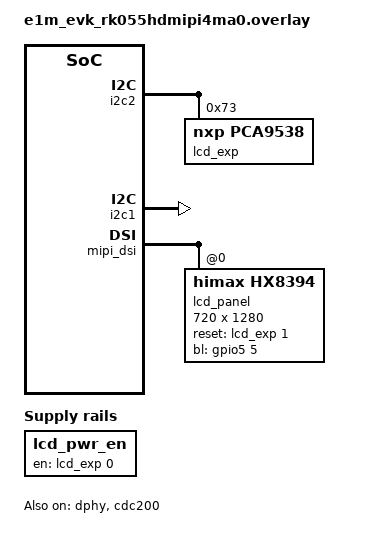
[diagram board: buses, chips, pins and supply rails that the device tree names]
/*
 * Copyright (c) 2026 Alp Lab AB
 * SPDX-License-Identifier: Apache-2.0
 *
 * e1m_evk_rk055hdmipi4ma0 -- the RK055HDMIPI4MA0 MIPI-DSI panel (720x1280,
 * Himax HX8394 controller, 2 data lanes, RGB888) on the E1M-EVK's display
 * connector (J6), driven by an E1M-AEN SoM (Alif Ensemble E8) through the SoC
 * display chain:
 *
 *   cdc200   (tes,cdc-2.1)          -- DPI pixel pump, framebuffer in SRAM0
 *       |  DPI
 *   mipi_dsi (snps,designware-dsi)  -- MIPI-DSI host
 *       |  phy-if <&dphy 1>
 *   dphy     (snps,designware-dphy) -- the shared D-PHY, TX role
 *       |  2 data lanes
 *   panel@0  (himax,hx8394)
 *
 * The SoC nodes (reg, IRQs, clocks, cdc-if / phy-if) are defined disabled in
 * zephyr/dts/alif/ensemble_e8_peripherals.dtsi.  This shield turns them on and
 * adds what the carrier and the panel decide.  Build any app with
 * `-DSHIELD=e1m_evk_rk055hdmipi4ma0`; the shield's Kconfig.defconfig enables
 * the drivers and defaults CONFIG_ALP_SDK=y itself -- the CDC200 / DesignWare
 * DSI / D-PHY driver symbols are alp-sdk's and live under `if ALP_SDK`, and
 * without it those symbols do not exist and the chain fails at link time, not
 * configure time.  An app can still set CONFIG_ALP_SDK=n to turn the SDK
 * back off.  The SoC-level clock / power / pad setup the chain needs lives in
 * zephyr/soc-bridge/alif/mipi_display_e8.c.
 *
 * Panel timings are the upstream NXP rk055hdmipi4ma0 shield's.  The pixel clock
 * is not: it is the fastest the link can carry.
 *
 * The layer format (pixel-fmt-l1 below) sets ONLY the framebuffer in memory --
 * the DSI link runs at the PANEL's pixel-format (RGB888, panel@0 below)
 * either way, so switching pixel-fmt-l1 to "rgb-565" leaves the lane rate
 * unchanged at pixel-clock * 24 / 2 plus packet overhead.  At 400 MHz / 10 =
 * 40 MHz that is 483.6 Mbps/lane, inside the Alif DSI controller's 500 Mbps
 * two-lane ceiling.  40 MHz is the fastest 400 MHz / N clock that fits.
 * Measured refresh is 40.0 Hz (762 * 1312 total pixels, including blanking,
 * at 40 MHz).  What RGB565 buys: half the framebuffer (720*1280*2 =
 * 1,843,200 B instead of 2,764,800 B) and half the CPU cost to fill it --
 * nothing on the wire changes.  Colour bars (R/G/B/W, no channel swap)
 * verified correct on glass at 40 MHz on E1M-AEN803 2026W36-0009: RGB888 at
 * its earlier framebuffer placement, 2026-09-21; RGB565 at the shipped
 * placement (`lcd_fb` at 0x02200000) on 2026-09-22, where the CDC L1
 * framebuffer register (0x49031134) read back 0x02200000 on every one of 15
 * boots, display_write() reported 2 bytes/pixel, and on the two boots that
 * reached READY the bands came up RED, GREEN, BLUE, WHITE in order with no
 * swap, confirmed by eye on the glass.
 *
 * 60 Hz needs 400 MHz / 7 = 57.142857 MHz, which only fits the Alif DSI
 * controller's 500 Mbps two-lane ceiling with a genuine 16-bit LINK -- not
 * just a 16-bit framebuffer: panel pixel-format MIPI_DSI_PIXFMT_RGB565,
 * clock-frequency 57142857, hline 771, DPI_COLOR_CODING 0x1.  That
 * combination was tried (#2199):
 * it produced correct colour bars, but at a much higher intermittent
 * init-stall rate than the 40 MHz RGB888-link config (5/10 cold boots versus
 * 1/10, 10 boots each) and added read stalls on the first DCS read after
 * display_write (4/10 versus 0/10).  Not shipped as the default for that
 * reason; see changelog.d/2199-aen-panel-init-intermittent.md.
 *
 * The SoC glue derives the CDC divider from clock-frequency and the DSI host
 * times its lanes from it, so those two cannot drift.  The APP's fill format
 * must track pixel-fmt-l1 too -- aen-dsi-display derives it from this node
 * rather than hardcoding, after a mismatch made every display_write() return
 * -EINVAL with no frame written at all.
 *
 * Conflicts: the I2C expander at 0x73 becomes a driver-owned GPIO controller
 * (gpio_pca_series), so an app must not also write its registers directly.
 * aen-evk-demo's phase 4, the one in-tree raw user, checks for this shield's
 * lcd_exp node and skips its register writes when it is present.
 */

#include <mem.h>
#include <zephyr/dt-bindings/gpio/gpio.h>
#include <zephyr/dt-bindings/mipi_dsi/mipi_dsi.h>
#include <zephyr/dt-bindings/pinctrl/alif-ensemble-pinctrl.h>

/ {
	chosen {
		zephyr,display = &cdc200;
	};

	aliases {
		/* <alp/display.h> resolves display 0 through this alias. */
		alp-display0 = &cdc200;
	};

	/*
	 * Expander P0 enables the panel supply.  Modelled as a boot-on fixed
	 * regulator so the panel is powered before the hx8394 driver resets it and
	 * sends its DCS init sequence.  The lcd_exp hog below has already driven
	 * RESX low by the time this runs, so the panel never sees VCC rise against
	 * an undefined reset level.
	 *
	 * ACTIVE_HIGH follows the upstream NXP rk055hdmipi4ma0 shield, which drives
	 * this same connector pin (J6 pin 32) as the panel power enable.  It is not
	 * bench-proven on this carrier.  Both polarities were tried on 2026-09-20,
	 * but while the panel module's own DC/DC was not running (a jumper missing
	 * on the module itself, #2199), so neither result says anything about this
	 * pin.  The HX8394 logic answers DCS with P0 held low, so this pin does not
	 * gate the controller's logic supply.
	 *
	 * The flip does take effect, if you ever need to make it: regulator_fixed_init()
	 * drives enable-gpios itself via gpio_pin_configure_dt(..., GPIO_OUTPUT_ACTIVE)
	 * BEFORE regulator_common_init() runs, so only startup-delay-us is lost to
	 * the refcount-only arm described below, never the pin itself.
	 *
	 * Bring-up note worth more than the polarity: every register reachable over
	 * DSI lives in the HX8394-F's logic domain, which runs from +L_VIO (J6 pin
	 * 25), while the source and gate drive depend on the panel module's own
	 * DC/DC.  With that DC/DC off, the panel still answers every DCS read and
	 * reports Sleep Out / Display On / 24 bpp -- RDDST D31 "Booster On" and
	 * RDDSDR (0Fh) D6 both read healthy -- and shows nothing.  That was #2199.
	 * The GT911 touch controller shares the module's supply, so a touch
	 * controller that does not answer at 0x5d or 0x14 is the DSI-independent
	 * tell: check it before debugging the video link.
	 *
	 * No startup-delay-us here: Zephyr 4.4.1 applies that property only on the
	 * regulator_enable() path (regulator_common.c, the `else if` arm), and a
	 * regulator-fixed with regulator-boot-on/always-on passes is_enabled=true
	 * into regulator_common_init() and takes the refcount-only arm instead, so
	 * the property would never be read.  The settle before RESX is released is
	 * the hx8394 driver's own 1 ms VCC->RESX-valid wait plus its 1 ms reset-low
	 * hold (display_hx8394.c), on top of the whole 75..90 init range.
	 */
	lcd_pwr_en: regulator-lcd-pwr-en {
		compatible = "regulator-fixed";
		regulator-name = "lcd-pwr-en";
		enable-gpios = <&lcd_exp 0 GPIO_ACTIVE_HIGH>;
		regulator-boot-on;
		regulator-always-on;
		status = "okay";
	};
};

/*
 * The framebuffer: the top 2 MiB of the 4 MiB SRAM0 (0x02000000, the SoC
 * dtsi's sram0).  A 720x1280 RGB565 layer is 1,843,200 B, which fits inside
 * 2 MiB (2,097,152 B) with room to spare -- DT_SIZE_M(2) is the smallest
 * MiB-aligned size that holds it.  Plain "mmio-sram", not
 * "zephyr,memory-region": the CDC driver uses the address directly, so
 * nothing is linked here and the framebuffer adds nothing to the image (an
 * ITCM RAM-run .bin stays small).
 *
 * The SoC dtsi's sram0 is ALSO the "SRAM0" linker region (and system RAM for
 * an app with `zephyr,sram = &sram0`), so it is grown back to the bottom
 * 2 MiB now that the smaller RGB565 framebuffer leaves room: anything linked
 * into SRAM0 past 0x02200000 is then a link error ("region SRAM0
 * overflowed") instead of a silent overwrite of the framebuffer.  An app
 * overlay that narrows sram0 further (aen-evk-demo's 64 KiB) is applied
 * after this shield and still stays below the framebuffer.  0x02000000 +
 * 2 MiB (sram0) + 2 MiB (lcd_fb) = 0x02400000, the top of the 4 MiB SRAM0 --
 * the two regions exactly partition it, no gap and no overlap.
 */
&sram0 {
	reg = <0x02000000 DT_SIZE_M(2)>;
};

&soc {
	lcd_fb: sram@2200000 {
		compatible = "mmio-sram";
		reg = <0x02200000 DT_SIZE_M(2)>;
	};
};

/*
 * The panel-control I2C GPIO expander on the E1M bus 0 (SoC I2C2, whose pins,
 * clock and alp-i2c0 alias the board devicetree already sets).  reg 0x73 is
 * EVK_I2C_ADDR_TCAL9538_MAIN in metadata/boards/e1m-evk.yaml (the
 * i2c_devices block).  P0 enables the panel path (lcd_pwr_en above), P1 is
 * the HX8394 reset.  It answers at POR;
 * its own reset line is pulled up on the carrier, so no firmware action is
 * needed.
 *
 * nxp,pca9538 (not nxp,pcal9538) on purpose: both bind gpio_pca_series.c, but
 * pcal9538 is TYPE_2 and its init also writes the Agile-IO block at
 * 0x40..0x45.  The part at 0x73 is not identified on silicon
 * (metadata/chips/tcal9538.yaml marks 0x40+ untested), so stay on the TYPE_0
 * base register set {0x00,0x01,0x03} that #1974 verified at POR.
 */
&i2c2 {
	lcd_exp: gpio@73 {
		compatible = "nxp,pca9538";
		reg = <0x73>;
		gpio-controller;
		#gpio-cells = <2>;
		ngpios = <8>;
		status = "okay";

		/*
		 * RESX defined LOW before the panel supply comes up.
		 *
		 * The TCAL9538 leaves its own reset with every pin an INPUT, and
		 * gpio_pca_series_init() only restores that POR state (OUTPUT=0xff,
		 * CONFIG=0xff).  So without this hog P1 stays high-impedance until the
		 * hx8394 driver configures it at CONFIG_APPLICATION_INIT_PRIORITY (90),
		 * which is AFTER regulator_fixed turns the panel supply on at
		 * CONFIG_REGULATOR_FIXED_INIT_PRIORITY (75): the panel is powered with
		 * RESX high-impedance for ~15 init levels, at whatever level the
		 * carrier's own termination happens to leave the net at.  A
		 * floating RESX during the VCC ramp is the failure this prevents -- the
		 * HX8394 samples an undefined reset level as it powers.
		 *
		 * GPIO_ACTIVE_HIGH + output-low => gpio_pin_configure(GPIO_OUTPUT_INACTIVE)
		 * => the expander pin is driven physically low, i.e. RESX asserted.
		 * gpio_hogs_init() (zephyr/drivers/gpio/gpio_hogs.c) runs at POST_KERNEL
		 * CONFIG_GPIO_HOGS_INIT_PRIORITY, which Kconfig.defconfig puts strictly
		 * between the expander and the regulator, and it only calls
		 * gpio_pin_configure() -- Zephyr hogs do not claim or lock a pin, so the
		 * hx8394 driver re-configuring the same pin at 90 and pulsing it is
		 * legal and unchanged.
		 */
		lcd_reset_hog: lcd-reset-hog {
			gpio-hog;
			gpios = <1 GPIO_ACTIVE_HIGH>;
			output-low;
			line-name = "lcd-resx";
		};
	};
};

/* gpio5 carries the backlight enable (panel bl-gpios below, P5_5). */
&gpio5 {
	status = "okay";
};

/*
 * The panel flex's touch-controller I2C.  It is a shield fact (the bus only
 * exists when this panel is plugged into J6), so it is enabled here and not
 * in the board.  No touch driver is bound here yet (#2199); this just gets
 * the bus up so an app or the I2C shell can probe the GT911 touch
 * controller at 0x5d or 0x14.
 *
 * Route: J6 pin 26/27 (DSI_I2C.SDA_L / DSI_I2C.SCL_L) -> level translator ->
 * E1M pads AH17 / AG17 -> Alif silicon P7_2 (I2C1_SDA_C) and P3_7
 * (I2C1_SCL_B), per metadata/pinmux/aen.yaml.  metadata/boards/e1m-evk.yaml
 * names the bus E1M_I2C1 / EVK_I2C_BUS_DSI_CSI, "Display + camera control I2C
 * (touch panel, camera-side I2C config)".  Touch reset is expander U35 P3
 * (net CTP_RST -> J6 pin 28).  CTP_INT_L (J6 pin 29) is the flex-side net; it
 * crosses level translator U4 to CTP_INT (U4 pin A1) on the SoC side, which
 * terminates on E1M module connector pad AH8 -- owned by the CC3501E
 * Wi-Fi/BLE coprocessor (silicon_pad: GPIO_15, metadata/pinmux/aen.yaml), so
 * the Alif has no direct INT line.
 *
 * Hardware contention: CC3501E GPIO_15 (E1M pad AH8) must stay an INPUT.
 * cc3501e_spi1_configure(..., ALP_CC3501E_SPI1_CS1, ...) or
 * cc3501e_gpio_configure(ctx, 15, OUTPUT, ...) would turn it into an output
 * that fights the GT911's INT driver through U4.
 *
 * P3_7 + P7_2 ONLY.  P3_6 is the I/O expander's own reset (E1M pad N1) and must
 * not be muxed or driven from this group.
 *
 * input-enable + bias-pull-down is the bench-validated E8 I2C pad config, the
 * same group shape as the board's pinctrl_i2c2 (2026-06-15); bias-pull-up is
 * reported to give a dead bus on this silicon and is not used.  No
 * clock-frequency: the SoC i2c1 node already declares I2C_BITRATE_STANDARD.
 */
&pinctrl {
	pinctrl_i2c1_dsi: pinctrl_i2c1_dsi {
		group0 {
			pinmux = <PIN_P3_7__I2C1_SCL_B>, <PIN_P7_2__I2C1_SDA_C>;
			input-enable;
			bias-pull-down;
		};
	};
};

&i2c1 {
	status = "okay";
	pinctrl-0 = <&pinctrl_i2c1_dsi>;
	pinctrl-names = "default";
};

&dphy {
	status = "okay";
};

&cdc200 {
	/* Panel timing -- from the upstream NXP rk055hdmipi4ma0 shield. */
	width = <720>;
	height = <1280>;
	hsync-len = <6>;
	hfront-porch = <12>;
	hback-porch = <24>;
	vsync-len = <2>;
	vfront-porch = <16>;
	vback-porch = <14>;
	hsync-active = <0>;
	vsync-active = <0>;
	de-active = <1>;
	pixelclk-active = <0>;
	/* The real pixel rate, 400 MHz / 10 (see the header). */
	clock-frequency = <40000000>;
	bg-color = <0x000000>;
	memory-region = <&lcd_fb>;

	/* L1 only: a single full-screen RGB565 layer (see the header comment). */
	enable-l1 = <1>;
	pixel-fmt-l1 = "rgb-565";
	win-x0-l1 = <0>;
	win-y0-l1 = <0>;
	win-x1-l1 = <720>;
	win-y1-l1 = <1280>;
	blend-factor1-l1 = <4>;
	blend-factor2-l1 = <5>;
	const-alpha-l1 = <0xff>;

	status = "okay";
};

&mipi_dsi {
	vid-pkt-size = <720>;

	/*
	 * What the PANEL needs, which its driver does not declare: Zephyr's
	 * himax,hx8394 sets mdev.mode_flags = MIPI_DSI_MODE_VIDEO and nothing
	 * else, so anything beyond plain non-burst sync-events can never reach
	 * this host no matter what the panel wants.  The board knows which panel
	 * is fitted, so the board says.
	 *
	 * Kept at non-burst deliberately.  The upstream NXP shield for this same
	 * module uses "burst" with autoinsert-eotp, but their host is NXP's own
	 * IP (fsl_mipi_dsi.c), not a DesignWare core, so those settings do not
	 * transfer register-for-register.  On THIS host burst was tried at 500,
	 * 750 and 900 Mbps clamps and killed every DCS read in all three, while
	 * non-burst answers reliably -- and the panel's own init writes ride that
	 * same LP path, so under burst the panel is very likely never configured
	 * at all.  Do not switch to burst without re-testing DCS reads (#2199).
	 */
	dpi-video-mode = "non-burst-sync-events";

	/*
	 * EoTp auto-insert, ON -- and note this is SEPARATE from the burst
	 * decision above, which is the whole point.
	 *
	 * NXP's generic driver turns this on for every panel on their host:
	 * DSI_GetDefaultConfig() sets `config->autoInsertEoTp = true`
	 * (mcux-sdk-ng/drivers/mipi_dsi/fsl_mipi_dsi.c:504-521), and DSI_Init()
	 * writes it into CFG_AUTOINSERT_EOTP (:446-453).  Our binding
	 * snps,designware-dsi.yaml declares `autoinsert-eotp` with NO `default:`
	 * key, so it resolves FALSE when unset -- and this shield never set it.
	 * So this panel has been running with DSI_PCKHDL_CFG_EOTP_TX_EN clear
	 * while the vendor runs the same module with it set.
	 *
	 * The comment above names "burst with autoinsert-eotp" as one thing and
	 * discards both because burst killed DCS reads.  They are not one thing.
	 * Burst changes how video packets are timed on the link; EoTp appends an
	 * end-of-transmission short packet so the peripheral can tell an HS burst
	 * ended cleanly rather than inferring it from the line going quiet.  EoTp
	 * is on to match the vendor's configuration for this module; it was not
	 * the cause of #2199's dark panel (the module's own DC/DC was), and the
	 * panel displays with it on.  Burst stays OFF.
	 */
	autoinsert-eotp;

	/*
	 * The Alif DSI controller's TWO-LANE ceiling, not a guess: the Ensemble
	 * serial-display application note's MIPI DSI feature list states
	 * "Supports one data lane (maximum speed 850 Mbps) or two data lanes
	 * (maximum speed 500 Mbps)", and Alif's own e1c.dtsi / b1.dtsi set
	 * panel-max-lane-bandwidth = <500000000> explicitly.  Stated here rather
	 * than left to the binding default so the number is visible next to the
	 * pixel clock it constrains.
	 *
	 * At 2 lanes the lane rate is pixel-clock * bpp / 2, so the RGB888 link
	 * above runs 40 MHz * 24 / 2 = 480 Mbps (the D-PHY PLL lands at ~483.6)
	 * -- inside the limit, at 40 Hz.  Raising this above 500000000 runs the
	 * controller out of spec.  The clamp limits only the RATE: MODE_TYPE comes from the mode flags in
	 * dsi_dw_burst_mode_setup(), so a low clamp never cancels a burst -- it
	 * only makes the lane slower than the DPI feed, starving the link.
	 */
	panel-max-lane-bandwidth = <500000000>;

	status = "okay";

	/*
	 * The upstream hx8394 driver pulses reset as logical 0 -> 1;
	 * GPIO_ACTIVE_HIGH maps that onto the expander's reset output.
	 */
	lcd_panel: panel@0 {
		compatible = "himax,hx8394";
		reg = <0>;
		reset-gpios = <&lcd_exp 1 GPIO_ACTIVE_HIGH>;
		/*
		 * bl-gpios: Alif P5_5, the SoM backlight driver's enable input (not an
		 * E1M pad).  Source: metadata/e1m_modules/aen/on-module-links.yaml,
		 * backlight.enable (#2203): on the SoM, P5_5 drives the backlight
		 * driver's enable, and E1M pads A31/B31 carry that driver's LED
		 * output (#2199).  Static high = full brightness; there is no Alif UTIMER
		 * PWM driver for dimming, and short low pulses on this input are the
		 * backlight driver's dimming protocol, so never pulse it.  The hx8394
		 * driver sets it at the end of a successful init; the SoC glue muxes
		 * the pad to GPIO first (gpio_dw applies no pad mux).
		 */
		bl-gpios = <&gpio5 5 GPIO_ACTIVE_HIGH>;
		data-lanes = <2>;
		width = <720>;
		height = <1280>;
		pixel-format = <MIPI_DSI_PIXFMT_RGB888>;
		status = "okay";
	};
};
